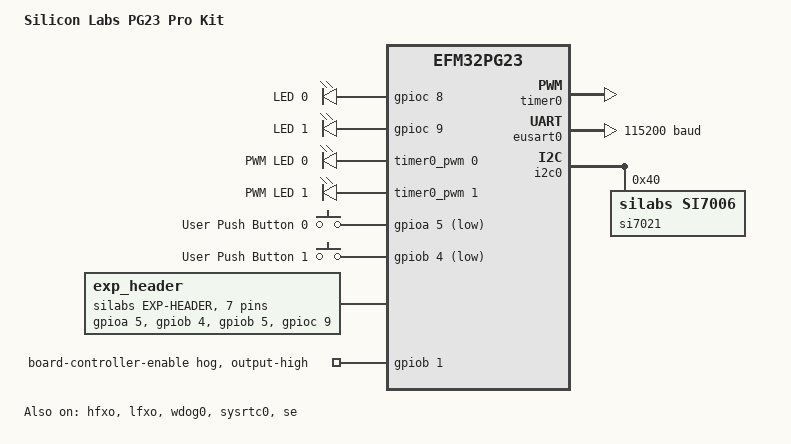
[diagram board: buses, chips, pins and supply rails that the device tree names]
/*
 * Copyright (c) 2025 Christoph Jans
 *
 * SPDX-License-Identifier: Apache-2.0
 */

/dts-v1/;
#include <silabs/xg23/efm32pg23b310f512im48.dtsi>
#include <zephyr/dt-bindings/input/input-event-codes.h>
#include <zephyr/dt-bindings/pwm/pwm.h>
#include <zephyr/dt-bindings/regulator/silabs_dcdc.h>
#include "pg23_pk2504a-pinctrl.dtsi"

/ {
	model = "Silicon Labs PG23 Pro Kit";
	compatible = "silabs,pg23_pk2504a", "silabs,efm32pg23";

	chosen {
		zephyr,code-partition = &slot0_partition;
		zephyr,console = &eusart0;
		zephyr,flash = &flash0;
		zephyr,shell-uart = &eusart0;
		zephyr,sram = &sram0;
		zephyr,uart-pipe = &eusart0;
	};

	aliases {
		dht0 = &si7021;
		led0 = &led0;
		led1 = &led1;
		pwm-led0 = &pwm_led0;
		pwm-led1 = &pwm_led1;
		sw0 = &button0;
		sw1 = &button1;
		watchdog0 = &wdog0;
	};

	leds {
		compatible = "gpio-leds";

		led0: led_0 {
			gpios = <&gpioc 8 GPIO_ACTIVE_HIGH>;
			label = "LED 0";
		};

		led1: led_1 {
			gpios = <&gpioc 9 GPIO_ACTIVE_HIGH>;
			label = "LED 1";
		};
	};

	pwmleds {
		compatible = "pwm-leds";

		pwm_led0: pwm_led_0 {
			pwms = <&timer0_pwm 0 PWM_MSEC(20) PWM_POLARITY_NORMAL>;
			label = "PWM LED 0";
		};

		pwm_led1: pwm_led_1 {
			pwms = <&timer0_pwm 1 PWM_MSEC(20) PWM_POLARITY_NORMAL>;
			label = "PWM LED 1";
		};
	};

	buttons {
		compatible = "gpio-keys";

		button0: button_0 {
			gpios = <&gpioa 5 GPIO_ACTIVE_LOW>;
			label = "User Push Button 0";
			zephyr,code = <INPUT_KEY_0>;
		};

		button1: button_1 {
			gpios = <&gpiob 4 GPIO_ACTIVE_LOW>;
			label = "User Push Button 1";
			zephyr,code = <INPUT_KEY_1>;
		};
	};

	exp_header: exp-header {
		compatible = "silabs,exp-header";
		#gpio-cells = <2>;
		gpio-map = <9 0 &gpioa 5 0>,
			   <11 0 &gpiob 4 0>,
			   <12 0 &gpiob 5 0>,
			   <13 0 &gpioc 9 0>,
			   <14 0 &gpiob 6 0>,
			   <15 0 &gpioa 8 0>,
			   <16 0 &gpioa 7 0>;
		gpio-map-mask = <0xffffffff 0x0>;
		gpio-map-pass-thru = <0x0 GPIO_DT_FLAGS_MASK>;
	};
};

&timer0 {
	status = "okay";

	timer0_pwm: pwm {
		pinctrl-0 = <&timer0_default>;
		pinctrl-names = "default";
		status = "okay";
	};
};

&cpu0 {
	clock-frequency = <78000000>;
};

&hfxo {
	status = "okay";
	ctune = <106>;
	precision = <50>;
};

&lfxo {
	status = "okay";
	ctune = <38>;
	precision = <50>;
};

&hfrcodpll {
	clock-frequency = <DT_FREQ_M(78)>;
	clocks = <&hfxo>;
	dpll-autorecover;
	dpll-edge = "fall";
	dpll-lock = "phase";
	dpll-m = <1919>;
	dpll-n = <3839>;
};

&em23grpaclk {
	clocks = <&lfxo>;
};

&em4grpaclk {
	clocks = <&lfxo>;
};

&sysrtcclk {
	clocks = <&lfxo>;
};

&wdog0clk {
	clocks = <&lfxo>;
};

&wdog1clk {
	clocks = <&lfxo>;
};

&eusart0 {
	compatible = "silabs,eusart-uart";
	current-speed = <115200>;
	pinctrl-0 = <&eusart0_default>;
	pinctrl-names = "default";
	status = "okay";
};

&i2c0 {
	pinctrl-0 = <&i2c0_default>;
	pinctrl-names = "default";
	status = "okay";

	si7021: si7021@40 {
		compatible = "silabs,si7006";
		reg = <0x40>;
	};
};

&gpio {
	status = "okay";
};

&gpioa {
	status = "okay";
};

&gpiob {
	status = "okay";

	/* VCOM Isolation. Set PB1 to HIGH to enable VCOM_{RX,TX}. */
	board-controller-enable {
		gpio-hog;
		gpios = <1 GPIO_ACTIVE_HIGH>;
		output-high;
	};
};

&gpioc {
	status = "okay";
};

&gpiod {
	status = "okay";
};

&wdog0 {
	status = "okay";
};

&sysrtc0 {
	status = "okay";
};

&se {
	status = "okay";
};

&dcdc {
	regulator-boot-on;
	silabs,pfmx-peak-current-milliamp = <80>;
	status = "okay";
};

&flash0 {
	partitions {
		compatible = "fixed-partitions";
		#address-cells = <1>;
		#size-cells = <1>;

		/* Reserve 48 kB for the bootloader */
		boot_partition: partition@0 {
			reg = <0x0 DT_SIZE_K(48)>;
			label = "mcuboot";
			read-only;
		};

		/* Reserve 216 kB for the application in slot 0 */
		slot0_partition: partition@c000 {
			reg = <0x0000c000 DT_SIZE_K(216)>;
			label = "image-0";
		};

		/* Reserve 216 kB for the application in slot 1 */
		slot1_partition: partition@42000 {
			reg = <0x00042000 DT_SIZE_K(216)>;
			label = "image-1";
		};

		/* Reserve 32 kB for the storage partition */
		storage_partition: partition@78000 {
			reg = <0x00078000 DT_SIZE_K(32)>;
			label = "storage";
		};
	};
};
